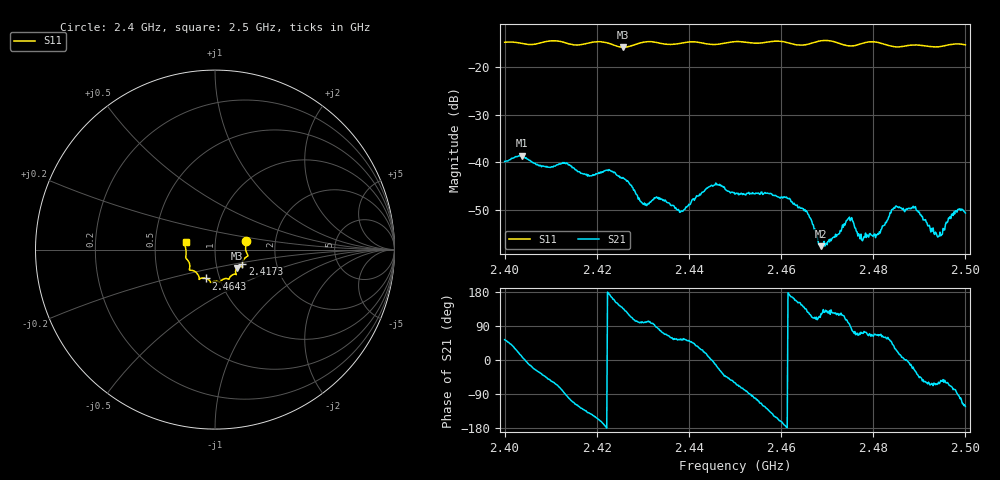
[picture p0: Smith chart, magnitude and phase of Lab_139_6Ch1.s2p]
# Hz S RI R 50
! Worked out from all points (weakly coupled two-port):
!   601 points, 2.4 GHz to 2.5 GHz, reference 50 ohm
!   highest |S21| = -38.60 dB at 2.4037 GHz (marker M1); lowest = -57.5 dB at 2.4687 GHz (marker M2)
!   lowest |S11| = -15.9 dB at 2.4257 GHz (marker M3), VSWR 1.38, Z = 62.4 - j13.1 ohm
!   |S11| at or under -10 dB: start of sweep to end of sweep
!   S12 and S22 are empty: the file has one direction only
!   S11 on the Smith chart (normalised r, x): 2.4 GHz: 1.41, +0.14; 2.4173 GHz: 1.34, -0.23; 2.4643 GHz: 0.86, -0.28; 2.5 GHz: 0.72, +0.06
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2.4e9  0.1735 0.0484  0.00605 0.00823  0 0  0 0
2.403667e9  0.1733 0.0281  0.0116 0.00208  0 0  0 0
2.416667e9  0.1531 -0.0747  -0.00466 -0.00611  0 0  0 0
2.417333e9  0.1521 -0.0823  -0.00511 -0.00561  0 0  0 0
2.425667e9  0.1226 -0.1023  -0.005 0.00481  0 0  0 0
2.430333e9  0.1179 -0.1374  -0.000608 0.00371  0 0  0 0
2.433333e9  0.1128 -0.1373  0.000547 0.00427  0 0  0 0
2.438333e9  0.0812 -0.1563  0.00188 0.00248  0 0  0 0
2.445333e9  0.0527 -0.1623  0.00571 -0.000546  0 0  0 0
2.45e9  0.0287 -0.1807  0.00232 -0.00403  0 0  0 0
2.4575e9  -0.0168 -0.1814  -0.00335 -0.00328  0 0  0 0
2.464333e9  -0.05 -0.1604  -0.00274 0.00187  0 0  0 0
2.466667e9  -0.0759 -0.159  -0.000959 0.00222  0 0  0 0
2.468667e9  -0.0873 -0.165  -0.000716 0.00112  0 0  0 0
2.474833e9  -0.1046 -0.1277  -0.000219 0.00267  0 0  0 0
2.477667e9  -0.1326 -0.1152  0.000506 0.00143  0 0  0 0
2.481e9  -0.1426 -0.109  0.000703 0.00166  0 0  0 0
2.483333e9  -0.1403 -0.0899  0.00152 0.00219  0 0  0 0
2.488667e9  -0.162 -0.0471  0.0033 -0.00112  0 0  0 0
2.494333e9  -0.162 0.00205  0.000787 -0.0015  0 0  0 0
2.4975e9  -0.1701 0.0295  0.000684 -0.00295  0 0  0 0
2.5e9  -0.1638 0.0425  -0.00161 -0.00248  0 0  0 0
